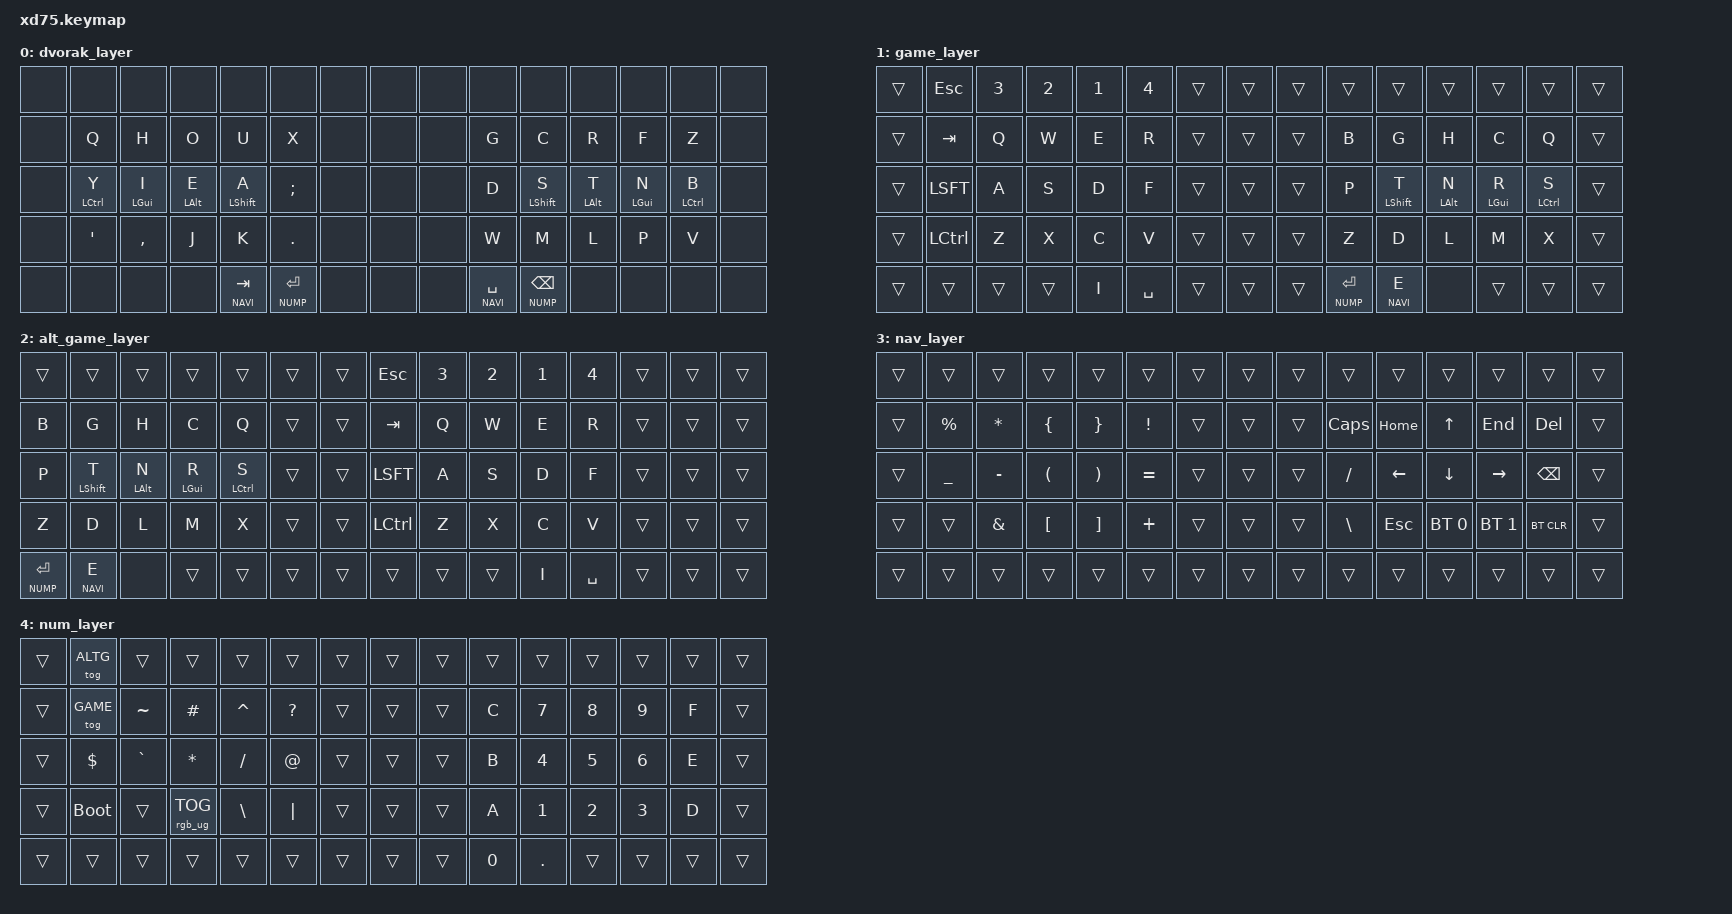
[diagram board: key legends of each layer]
/*
 * Copyright (c) 2020 The ZMK Contributors
 *
 * SPDX-License-Identifier: MIT
 */

#include <behaviors.dtsi>
#include <dt-bindings/zmk/keys.h>
#include <dt-bindings/zmk/bt.h>
#include <dt-bindings/zmk/rgb.h>

#define BASE     0 /* (HANDS DOWN LAYER) */
#define GAME     1 /* (GAME LAYER) */
#define ALTG     2 /* (ALTERNATIVE GAME LAYER) */
#define NAVI     3 /* (NAVIGATION LAYER) */
#define NUMP     4 /* (NUMPAD LAYER) */
#define SYM1     5 /* (SYMBOL LAYER 1) */
#define SYM2     6 /* (SYMBOL LAYER 2) */

/ {
	behaviors {
			hm: homerow_mods {
			compatible = "zmk,behavior-hold-tap";
			label = "HOMEROW_MODS";
			#binding-cells = <2>;
			tapping_term_ms = <200>;
			flavor = "tap-preferred";
			bindings = <&kp>, <&kp>;
			};
	};

	keymap0: keymap {
		compatible = "zmk,keymap";

                dvorak_layer {
// -----------------------------------------------------------------------------------------
// |  Q  |  H  |  O  |  U  |  X  |   |  G  |  C  |  R  |  F  |  Z  |
// |  Y  |  I  |  E  |  A  |  ;  |   |  D  |  S  |  T  |  N  |  B  |
// |  '  |  J  |  ,  |  K  |  .  |   |  W  |  M  |  L  |  P  |  V  |
//             | TAB | ENT |     |   |     | BSPC| SPC |
                        bindings = <
        &none &none       &none      &none      &none        &none         &none  &none  &none &none          &none          &none      &none      &none       &none
        &none &kp Q       &kp H      &kp O      &kp U        &kp X         &none  &none  &none &kp G          &kp C          &kp R      &kp F      &kp Z       &none
        &none &hm LCTRL Y &hm LGUI I &hm LALT E &hm LSHFT A  &kp SEMI      &none  &none  &none &kp D          &hm LSHFT S    &hm LALT T &hm LGUI N &hm LCTRL B &none
        &none &kp APOS    &kp COMMA  &kp J      &kp K        &kp DOT       &none  &none  &none &kp W          &kp M          &kp L      &kp P      &kp V       &none
        &none &none       &none      &none      &lt NAVI TAB &lt NUMP RET  &none  &none  &none &lt NAVI SPACE &lt NUMP BSPC  &none      &none      &none       &none
                        >;
                };

                game_layer {
// -----------------------------------------------------------------------------------------
// | TAB |  Q  |  W  |  E  |  R  |   |  B  |  G  |  H  |  C  |  Q  |
// | SHFT|  A  |  S  |  D  |  F  |   |  P  |  T  |  N  |  R  |  S  |
// | CTRL|  Z  |  X  |  C  |  V  |   |  Z  |  D  |  L  |  M  |  X  |
//             |     |  I  | SPC |   | RET |  E  |     |
                        bindings = <
        &trans &kp ESC   &kp N3 &kp N2 &kp N1 &kp N4     &trans &trans &trans &trans        &trans      &trans     &trans     &trans      &trans 
        &trans &kp TAB   &kp Q  &kp W  &kp E  &kp R      &trans &trans &trans &kp B         &kp G       &kp H      &kp C      &kp Q       &trans 
        &trans &kp LSFT  &kp A  &kp S  &kp D  &kp F      &trans &trans &trans &kp P         &hm LSHFT T &hm LALT N &hm LGUI R &hm LCTRL S &trans 
        &trans &kp LCTRL &kp Z  &kp X  &kp C  &kp V      &trans &trans &trans &kp Z         &kp D       &kp L      &kp M      &kp X       &trans 
        &trans &trans    &trans &trans &kp I  &kp SPACE  &trans &trans &trans &lt NUMP RET  &lt NAVI E  &none      &trans     &trans      &trans
                        >;
                };

                alt_game_layer {
// -----------------------------------------------------------------------------------------
// | TAB |  Q  |  W  |  E  |  R  |   |  B  |  G  |  H  |  C  |  Q  |
// | SHFT|  A  |  S  |  D  |  F  |   |  P  |  T  |  N  |  R  |  S  |
// | CTRL|  Z  |  X  |  C  |  V  |   |  Z  |  D  |  L  |  M  |  X  |
//             |     |  I  | SPC |   | RET |  E  |     |
                        bindings = <
        &trans       &trans      &trans     &trans     &trans      &trans  &trans &kp ESC   &kp N3 &kp N2 &kp N1 &kp N4    &trans &trans &trans
        &kp B        &kp G       &kp H      &kp C      &kp Q       &trans  &trans &kp TAB   &kp Q  &kp W  &kp E  &kp R     &trans &trans &trans
        &kp P        &hm LSHFT T &hm LALT N &hm LGUI R &hm LCTRL S &trans  &trans &kp LSFT  &kp A  &kp S  &kp D  &kp F     &trans &trans &trans
        &kp Z        &kp D       &kp L      &kp M      &kp X       &trans  &trans &kp LCTRL &kp Z  &kp X  &kp C  &kp V     &trans &trans &trans
        &lt NUMP RET &lt NAVI E  &none      &trans     &trans      &trans  &trans &trans    &trans &trans &kp I  &kp SPACE &trans &trans &trans 
                        >;
                };

                nav_layer {
// -----------------------------------------------------------------------------------------
// |  %  |  *  |  {  |  }  |  !  |   | CAPS| HOME |  UP  | END  | DEL  |
// |  _  |  -  |  (  |  )  |  =  |   |  /  | LEFT | DOWN | RGT  | BKSP |
// |     |  &  |  [  |  ]  |  +  |   |  \  | ESC  | BT_1 | BT_2 | BCLR |
//             |     |     |     |   |     |      |      |
                        bindings = <
    &trans &trans    &trans    &trans   &trans   &trans    &trans &trans &trans &trans   &trans   &trans       &trans       &trans     &trans
    &trans &kp PRCNT &kp STAR  &kp LBRC &kp RBRC &kp EXCL  &trans &trans &trans &kp CAPS &kp HOME &kp UP       &kp END      &kp DEL    &trans
    &trans &kp UNDER &kp MINUS &kp LPAR &kp RPAR &kp EQUAL &trans &trans &trans &kp FSLH &kp LEFT &kp DOWN     &kp RIGHT    &kp BSPC   &trans
    &trans &trans    &kp AMPS  &kp LBKT &kp RBKT &kp PLUS  &trans &trans &trans &kp BSLH &kp ESC  &bt BT_SEL 0 &bt BT_SEL 1 &bt BT_CLR &trans
    &trans &trans    &trans    &trans   &trans   &trans    &trans &trans &trans &trans   &trans   &trans       &trans       &trans     &trans
                        >;
                };

                num_layer {
// -----------------------------------------------------------------------------------------
// | GME |  ~  |  #  |  ^  |  ?  |   |  C  |  7  |  8  |  9  |  F  |
// |  $  |  `  |  *  |  /  |  @  |   |  B  |  4  |  5  |  6  |  E  |
// | BOOT|     |     |  \  | "|" |   |  A  |  1  |  2  |  3  |  D  |
//             |     |     |     |   |  0  |  .  |     |
                        bindings = <
   &trans &tog ALTG   &trans    &trans            &trans    &trans      &trans &trans &trans &trans  &trans  &trans  &trans  &trans &trans
   &trans &tog GAME   &kp TILDE &kp HASH          &kp CARET &kp QMARK   &trans &trans &trans &kp C   &kp N7  &kp N8  &kp N9  &kp F  &trans
   &trans &kp DLLR    &kp GRAVE &kp STAR          &kp FSLH  &kp AT      &trans &trans &trans &kp B   &kp N4  &kp N5  &kp N6  &kp E  &trans
   &trans &bootloader &trans    &rgb_ug RGB_TOG   &kp BSLH  &kp PIPE    &trans &trans &trans &kp A   &kp N1  &kp N2  &kp N3  &kp D  &trans
   &trans &trans      &trans    &trans            &trans    &trans      &trans &trans &trans &kp N0  &kp DOT &trans  &trans  &trans &trans
                        >;
                };

	};
};
